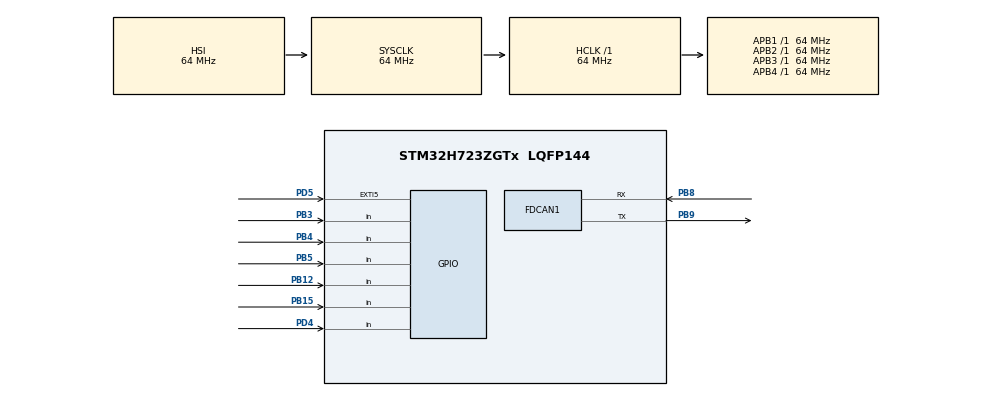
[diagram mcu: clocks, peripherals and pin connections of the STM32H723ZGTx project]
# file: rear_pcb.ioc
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CORTEX_M7.default_mode_Activation=1
FDCAN1.AutoRetransmission=ENABLE
FDCAN1.CalculateBaudRateNominal=500000
FDCAN1.CalculateTimeBitNominal=2000
FDCAN1.CalculateTimeQuantumNominal=125.0
FDCAN1.DataPrescaler=5
FDCAN1.DataSyncJumpWidth=2
FDCAN1.DataTimeSeg1=13
FDCAN1.DataTimeSeg2=6
FDCAN1.NominalPrescaler=6
FDCAN1.NominalSyncJumpWidth=6
FDCAN1.NominalTimeSeg1=13
FDCAN1.NominalTimeSeg2=2
FDCAN1.RxFifo0ElmtsNbr=4
FDCAN1.StdFiltersNbr=1
FDCAN1.TxFifoQueueElmtsNbr=4
Mcu.Family=STM32H7
Mcu.Name=STM32H723ZGTx
Mcu.Package=LQFP144
NVIC.PriorityGroup=NVIC_PRIORITYGROUP_4
PA11.Signal=USB_OTG_HS_DM
PA12.Signal=USB_OTG_HS_DP
PB12.Signal=GPIO_Input
PB15.Signal=GPIO_Input
PB3(JTDO/TRACESWO).Signal=GPIO_Input
PB4(NJTRST).Signal=GPIO_Input
PB5.Signal=GPIO_Input
PB6.Signal=I2C1_SCL
PB7.Signal=I2C1_SDA
PB8.Mode=FDCAN_Activate
PB8.Signal=FDCAN1_RX
PB9.Mode=FDCAN_Activate
PB9.Signal=FDCAN1_TX
PD4.Signal=GPIO_Input
PD5.Signal=GPXTI5
ProjectManager.HeapSize=0x200
ProjectManager.StackSize=0x400
ProjectManager.TargetToolchain=STM32CubeIDE
RCC.ADCFreq_Value=129000000
RCC.APB1Freq_Value=64000000
RCC.APB2Freq_Value=64000000
RCC.APB3Freq_Value=64000000
RCC.APB4Freq_Value=64000000
RCC.CortexFreq_Value=64000000
RCC.DIVM1=4
RCC.DIVN1=12
RCC.DIVQ1=4
RCC.HCLKFreq_Value=64000000
RCC.PLLFRACN=0
RCC.SYSCLKFreq_VALUE=64000000
RCC.USBFreq_Value=48000000
VP_MEMORYMAP_VS_MEMORYMAP.Mode=CurAppReg
board=custom

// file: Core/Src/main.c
/* USER CODE BEGIN Header */
/**
  ******************************************************************************
  * @file           : main.c
  * @brief          : Main program body
  ******************************************************************************
  * @attention
  *
  * Copyright (c) 2026 STMicroelectronics.
  * All rights reserved.
  *
  * This software is licensed under terms that can be found in the LICENSE file
  * in the root directory of this software component.
  * If no LICENSE file comes with this software, it is provided AS-IS.
  *
  ******************************************************************************
  */
/* USER CODE END Header */
#include "main.h"

/* USER CODE BEGIN Includes */
#include "control.h"
#include "can_messages.h"

/* USER CODE END Includes */

FDCAN_HandleTypeDef hfdcan1;

void SystemClock_Config(void);
static void MPU_Config(void);
static void MX_GPIO_Init(void);
static void MX_FDCAN1_Init(void);

int main(void)
{

  /* MPU Configuration--------------------------------------------------------*/
  MPU_Config();

  /* MCU Configuration--------------------------------------------------------*/

  /* Reset of all peripherals, Initializes the Flash interface and the Systick. */
  HAL_Init();

  /* Configure the system clock */
  SystemClock_Config();

  /* Initialize all configured peripherals */
  MX_GPIO_Init();
  MX_FDCAN1_Init();
  /* USER CODE BEGIN 2 */
  if (HAL_FDCAN_Start(&hfdcan1) != HAL_OK)
  {
    Error_Handler();
  }

  HAL_FDCAN_ConfigGlobalFilter(
          &hfdcan1,
          FDCAN_ACCEPT_IN_RX_FIFO0,     // Accept standard IDs
          FDCAN_ACCEPT_IN_RX_FIFO0,     // Accept extended IDs
          DISABLE,                      // No remote frames rejected
          DISABLE                       // No extended remote frames rejected
  );

  FDCAN_TxHeaderTypeDef TxHeader;
  uint8_t TxData[8] = {0x11, 0x22, 0x33, 0x44, 0x55, 0x66, 0x77, 0x88};

  TxHeader.Identifier = 0x123;
  TxHeader.IdType = FDCAN_STANDARD_ID;
  TxHeader.TxFrameType = FDCAN_DATA_FRAME;
  TxHeader.DataLength = FDCAN_DLC_BYTES_8;
  TxHeader.ErrorStateIndicator = FDCAN_ESI_ACTIVE;
  TxHeader.BitRateSwitch = FDCAN_BRS_OFF;
  TxHeader.FDFormat = FDCAN_CLASSIC_CAN;
  TxHeader.TxEventFifoControl = FDCAN_STORE_TX_EVENTS;
  TxHeader.MessageMarker = 0;

  /* USER CODE END 2 */

  /* Infinite loop */
  while (1)
  {

    /* USER CODE BEGIN 3 */

    // Test message
    if (HAL_FDCAN_AddMessageToTxFifoQ(&hfdcan1, &TxHeader, TxData) == HAL_OK)
    {
      Error_Handler();
    }

    SendRPMOnCan(CAN_ID_REAR_RPM);
    SendSpeedOnCan(CAN_ID_REAR_SPEED);
    SendFuelOnCan(CAN_ID_REAR_FUEL);
    SendTempOnCan(CAN_ID_REAR_TEMPERATURE);

    // Send message every 100 ms
    HAL_Delay(100);
  }
  /* USER CODE END 3 */
}

void SystemClock_Config(void)
{
  RCC_OscInitTypeDef RCC_OscInitStruct = {0};
  RCC_ClkInitTypeDef RCC_ClkInitStruct = {0};

  /** Supply configuration update enable
  */
  HAL_PWREx_ConfigSupply(PWR_LDO_SUPPLY);

  /** Configure the main internal regulator output voltage
  */
  __HAL_PWR_VOLTAGESCALING_CONFIG(PWR_REGULATOR_VOLTAGE_SCALE3);

  while(!__HAL_PWR_GET_FLAG(PWR_FLAG_VOSRDY)) {}

  /** Initializes the RCC Oscillators according to the specified parameters
  * in the RCC_OscInitTypeDef structure.
  */
  RCC_OscInitStruct.OscillatorType = RCC_OSCILLATORTYPE_HSI;
  RCC_OscInitStruct.HSIState = RCC_HSI_DIV1;
  RCC_OscInitStruct.HSICalibrationValue = 64;
  RCC_OscInitStruct.PLL.PLLState = RCC_PLL_ON;
  RCC_OscInitStruct.PLL.PLLSource = RCC_PLLSOURCE_HSI;
  RCC_OscInitStruct.PLL.PLLM = 4;
  RCC_OscInitStruct.PLL.PLLN = 12;
  RCC_OscInitStruct.PLL.PLLP = 2;
  RCC_OscInitStruct.PLL.PLLQ = 4;
  RCC_OscInitStruct.PLL.PLLR = 2;
  RCC_OscInitStruct.PLL.PLLRGE = RCC_PLL1VCIRANGE_3;
  RCC_OscInitStruct.PLL.PLLVCOSEL = RCC_PLL1VCOWIDE;
  RCC_OscInitStruct.PLL.PLLFRACN = 0;
  if (HAL_RCC_OscConfig(&RCC_OscInitStruct) != HAL_OK)
  {
    Error_Handler();
  }

  /** Initializes the CPU, AHB and APB buses clocks
  */
  RCC_ClkInitStruct.ClockType = RCC_CLOCKTYPE_HCLK|RCC_CLOCKTYPE_SYSCLK
                              |RCC_CLOCKTYPE_PCLK1|RCC_CLOCKTYPE_PCLK2
                              |RCC_CLOCKTYPE_D3PCLK1|RCC_CLOCKTYPE_D1PCLK1;
  RCC_ClkInitStruct.SYSCLKSource = RCC_SYSCLKSOURCE_HSI;
  RCC_ClkInitStruct.SYSCLKDivider = RCC_SYSCLK_DIV1;
  RCC_ClkInitStruct.AHBCLKDivider = RCC_HCLK_DIV1;
  RCC_ClkInitStruct.APB3CLKDivider = RCC_APB3_DIV1;
  RCC_ClkInitStruct.APB1CLKDivider = RCC_APB1_DIV1;
  RCC_ClkInitStruct.APB2CLKDivider = RCC_APB2_DIV1;
  RCC_ClkInitStruct.APB4CLKDivider = RCC_APB4_DIV1;

  if (HAL_RCC_ClockConfig(&RCC_ClkInitStruct, FLASH_LATENCY_1) != HAL_OK)
  {
    Error_Handler();
  }
}

static void MX_FDCAN1_Init(void)
{

  hfdcan1.Instance = FDCAN1;
  hfdcan1.Init.FrameFormat = FDCAN_FRAME_CLASSIC;
  hfdcan1.Init.Mode = FDCAN_MODE_NORMAL;
  hfdcan1.Init.AutoRetransmission = ENABLE;
  hfdcan1.Init.TransmitPause = DISABLE;
  hfdcan1.Init.ProtocolException = DISABLE;
  hfdcan1.Init.NominalPrescaler = 6;
  hfdcan1.Init.NominalSyncJumpWidth = 6;
  hfdcan1.Init.NominalTimeSeg1 = 13;
  hfdcan1.Init.NominalTimeSeg2 = 2;
  hfdcan1.Init.DataPrescaler = 5;
  hfdcan1.Init.DataSyncJumpWidth = 2;
  hfdcan1.Init.DataTimeSeg1 = 13;
  hfdcan1.Init.DataTimeSeg2 = 6;
  hfdcan1.Init.MessageRAMOffset = 0;
  hfdcan1.Init.StdFiltersNbr = 1;
  hfdcan1.Init.ExtFiltersNbr = 0;
  hfdcan1.Init.RxFifo0ElmtsNbr = 4;
  hfdcan1.Init.RxFifo0ElmtSize = FDCAN_DATA_BYTES_8;
  hfdcan1.Init.RxFifo1ElmtsNbr = 0;
  hfdcan1.Init.RxFifo1ElmtSize = FDCAN_DATA_BYTES_8;
  hfdcan1.Init.RxBuffersNbr = 0;
  hfdcan1.Init.RxBufferSize = FDCAN_DATA_BYTES_8;
  hfdcan1.Init.TxEventsNbr = 0;
  hfdcan1.Init.TxBuffersNbr = 0;
  hfdcan1.Init.TxFifoQueueElmtsNbr = 4;
  hfdcan1.Init.TxFifoQueueMode = FDCAN_TX_FIFO_OPERATION;
  hfdcan1.Init.TxElmtSize = FDCAN_DATA_BYTES_8;
  if (HAL_FDCAN_Init(&hfdcan1) != HAL_OK)
  {
    Error_Handler();
  }

}

static void MX_GPIO_Init(void)
{
  GPIO_InitTypeDef GPIO_InitStruct = {0};

  /* GPIO Ports Clock Enable */
  __HAL_RCC_GPIOB_CLK_ENABLE();
  __HAL_RCC_GPIOA_CLK_ENABLE();
  __HAL_RCC_GPIOD_CLK_ENABLE();

  /*Configure GPIO pins : PB12 PB15 PB3 PB4
                           PB5 */
  GPIO_InitStruct.Pin = GPIO_PIN_12|GPIO_PIN_15|GPIO_PIN_3|GPIO_PIN_4
                          |GPIO_PIN_5;
  GPIO_InitStruct.Mode = GPIO_MODE_INPUT;
  GPIO_InitStruct.Pull = GPIO_NOPULL;
  HAL_GPIO_Init(GPIOB, &GPIO_InitStruct);

  /*Configure GPIO pins : PA11 PA12 */
  GPIO_InitStruct.Pin = GPIO_PIN_11|GPIO_PIN_12;
  GPIO_InitStruct.Mode = GPIO_MODE_AF_PP;
  GPIO_InitStruct.Pull = GPIO_NOPULL;
  GPIO_InitStruct.Speed = GPIO_SPEED_FREQ_LOW;
  HAL_GPIO_Init(GPIOA, &GPIO_InitStruct);

  /*Configure GPIO pin : PD4 */
  GPIO_InitStruct.Pin = GPIO_PIN_4;
  GPIO_InitStruct.Mode = GPIO_MODE_INPUT;
  GPIO_InitStruct.Pull = GPIO_NOPULL;
  HAL_GPIO_Init(GPIOD, &GPIO_InitStruct);

  /*Configure GPIO pin : PD5 */
  GPIO_InitStruct.Pin = GPIO_PIN_5;
  GPIO_InitStruct.Mode = GPIO_MODE_IT_RISING;
  GPIO_InitStruct.Pull = GPIO_NOPULL;
  HAL_GPIO_Init(GPIOD, &GPIO_InitStruct);

  /*Configure GPIO pins : PB6 PB7 */
  GPIO_InitStruct.Pin = GPIO_PIN_6|GPIO_PIN_7;
  GPIO_InitStruct.Mode = GPIO_MODE_AF_OD;
  GPIO_InitStruct.Pull = GPIO_NOPULL;
  GPIO_InitStruct.Speed = GPIO_SPEED_FREQ_LOW;
  GPIO_InitStruct.Alternate = GPIO_AF4_I2C1;
  HAL_GPIO_Init(GPIOB, &GPIO_InitStruct);

}

 /* MPU Configuration */

void MPU_Config(void)
{
  MPU_Region_InitTypeDef MPU_InitStruct = {0};

  /* Disables the MPU */
  HAL_MPU_Disable();

  /** Initializes and configures the Region and the memory to be protected
  */
  MPU_InitStruct.Enable = MPU_REGION_ENABLE;
  MPU_InitStruct.Number = MPU_REGION_NUMBER0;
  MPU_InitStruct.BaseAddress = 0x0;
  MPU_InitStruct.Size = MPU_REGION_SIZE_4GB;
  MPU_InitStruct.SubRegionDisable = 0x87;
  MPU_InitStruct.TypeExtField = MPU_TEX_LEVEL0;
  MPU_InitStruct.AccessPermission = MPU_REGION_NO_ACCESS;
  MPU_InitStruct.DisableExec = MPU_INSTRUCTION_ACCESS_DISABLE;
  MPU_InitStruct.IsShareable = MPU_ACCESS_SHAREABLE;
  MPU_InitStruct.IsCacheable = MPU_ACCESS_NOT_CACHEABLE;
  MPU_InitStruct.IsBufferable = MPU_ACCESS_NOT_BUFFERABLE;

  HAL_MPU_ConfigRegion(&MPU_InitStruct);
  /* Enables the MPU */
  HAL_MPU_Enable(MPU_PRIVILEGED_DEFAULT);

}

void Error_Handler(void)
{
  __disable_irq();
  while (1)
  {
  }
}
